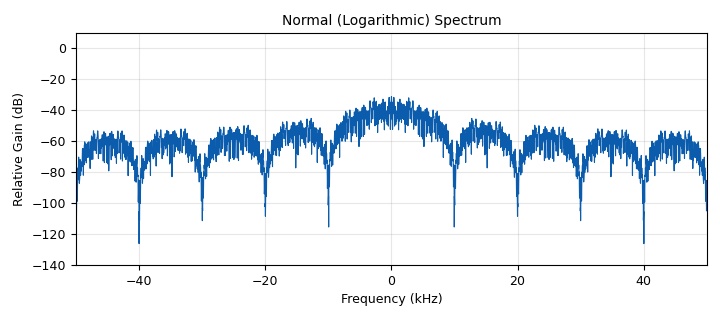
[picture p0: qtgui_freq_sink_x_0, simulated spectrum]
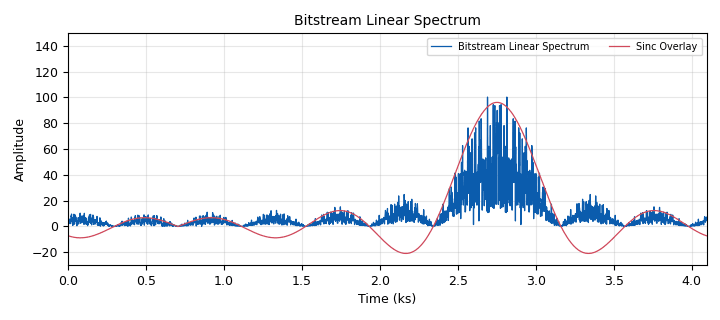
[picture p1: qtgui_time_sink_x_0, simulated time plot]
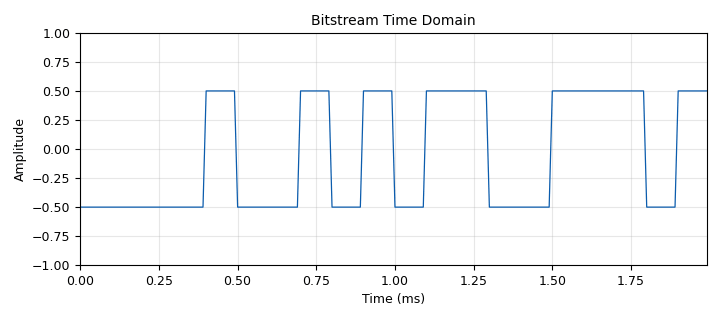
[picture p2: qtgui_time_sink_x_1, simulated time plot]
options:
  parameters:
    author: Gary Schafer
    generate_options: qt_gui
    id: basicBitstreamSpectrum
    output_language: python
    title: Square Time Domain = Sinc Frequency Domain
  states: {}

blocks:
- name: N
  id: variable
  parameters:
    value: 2**12
  states: {}
- name: samp_rate
  id: variable
  parameters:
    value: 100e3
  states: {}
- name: sinc
  id: variable
  parameters:
    comment: |-
      Create sinc curve
      ------------------------
      Value: N*10*sig.firwin(N,sps/(2*N),window='boxcar',fs=1)
    value: N*10*sig.firwin(N,sps/(2*N),window='boxcar',fs=1)
  states: {}
- name: sps
  id: variable
  parameters:
    value: '10'
  states: {}
- name: analog_random_source_x_0
  id: analog_random_source_x
  parameters:
    comment: Random bit generator
    max: '2'
    min: '0'
    num_samps: '10000'
    repeat: 'True'
    type: byte
  states: {}
- name: blocks_add_const_vxx_0
  id: blocks_add_const_vxx
  parameters:
    const: '-0.5'
    type: float
  states: {}
- name: blocks_complex_to_mag_0
  id: blocks_complex_to_mag
  parameters:
    vlen: N
  states: {}
- name: blocks_repeat_0
  id: blocks_repeat
  parameters:
    comment: 'Interpolation: sps'
    interp: sps
    type: float
  states: {}
- name: blocks_stream_to_vector_0
  id: blocks_stream_to_vector
  parameters:
    num_items: N
    type: float
  states: {}
- name: blocks_throttle_0
  id: blocks_throttle
  parameters:
    samples_per_second: samp_rate
    type: float
  states: {}
- name: blocks_uchar_to_float_0
  id: blocks_uchar_to_float
  parameters: {}
  states: {}
- name: blocks_vector_source_x_0
  id: blocks_vector_source_x
  parameters:
    repeat: 'True'
    type: float
    vector: sinc
  states: {}
- name: blocks_vector_to_stream_0
  id: blocks_vector_to_stream
  parameters:
    num_items: N
    type: float
  states: {}
- name: fft_vxx_0
  id: fft_vxx
  parameters:
    fft_size: N
    forward: 'True'
    shift: 'True'
    type: float
    window: window.blackmanharris(N)
  states: {}
- name: import_0
  id: import
  parameters:
    imports: import numpy as np
  states: {}
- name: import_1
  id: import
  parameters:
    imports: import scipy.signal as sig
  states: {}
- name: myTabs
  id: qtgui_tab_widget
  parameters:
    gui_hint: 0,0,20,20
    label0: Time - Linear Spectrum
    label1: Normal Spectrum
    num_tabs: '2'
  states: {}
- name: qtgui_freq_sink_x_0
  id: qtgui_freq_sink_x
  parameters:
    bw: samp_rate
    color1: '"black"'
    fc: '0'
    fftsize: N
    grid: 'True'
    gui_hint: myTabs@1
    legend: 'False'
    name: Normal (Logarithmic) Spectrum
    type: float
  states: {}
- name: qtgui_time_sink_x_0
  id: qtgui_time_sink_x
  parameters:
    grid: 'True'
    gui_hint: myTabs@0:10,0,10,20
    label1: Bitstream Linear Spectrum
    label2: Sinc Overlay
    name: Bitstream Linear Spectrum
    nconnections: '2'
    size: N
    srate: '1'
    type: float
    ymax: '150'
    ymin: '-30'
  states: {}
- name: qtgui_time_sink_x_1
  id: qtgui_time_sink_x
  parameters:
    grid: 'True'
    gui_hint: myTabs@0:0,0,10,20
    legend: 'False'
    name: Bitstream Time Domain
    size: sps*20
    srate: samp_rate
    type: float
  states: {}
- name: virtual_sink_0
  id: virtual_sink
  parameters:
    stream_id: vector_source
  states: {}
- name: virtual_sink_1
  id: virtual_sink
  parameters:
    stream_id: bitstream
  states: {}
- name: virtual_source_0
  id: virtual_source
  parameters:
    stream_id: bitstream
  states: {}

connections:
- [analog_random_source_x_0, '0', blocks_uchar_to_float_0, '0']
- [blocks_add_const_vxx_0, '0', blocks_repeat_0, '0']
- [blocks_complex_to_mag_0, '0', blocks_vector_to_stream_0, '0']
- [blocks_repeat_0, '0', blocks_throttle_0, '0']
- [blocks_repeat_0, '0', qtgui_freq_sink_x_0, '0']
- [blocks_repeat_0, '0', virtual_sink_0, '0']
- [blocks_stream_to_vector_0, '0', fft_vxx_0, '0']
- [blocks_throttle_0, '0', qtgui_time_sink_x_1, '0']
- [blocks_throttle_0, '0', virtual_sink_1, '0']
- [blocks_uchar_to_float_0, '0', blocks_add_const_vxx_0, '0']
- [blocks_vector_source_x_0, '0', qtgui_time_sink_x_0, '1']
- [blocks_vector_to_stream_0, '0', qtgui_time_sink_x_0, '0']
- [fft_vxx_0, '0', blocks_complex_to_mag_0, '0']
- [virtual_source_0, '0', blocks_stream_to_vector_0, '0']

metadata:
  file_format: 1
  grc_version: 3.10.9.2
